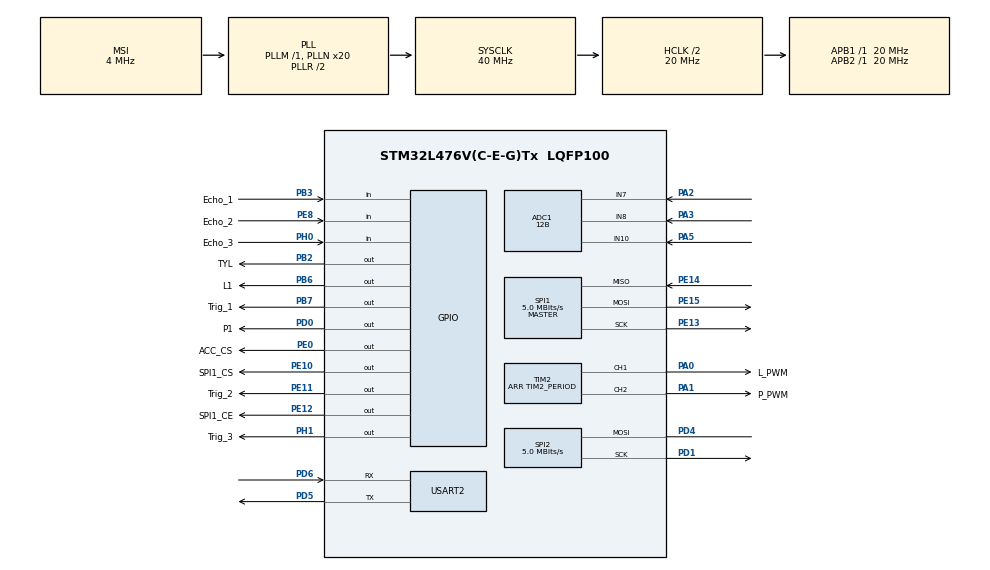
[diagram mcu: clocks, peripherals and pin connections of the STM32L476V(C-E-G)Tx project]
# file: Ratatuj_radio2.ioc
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ADC1.Channel-0\#ChannelRegularConversion=ADC_CHANNEL_8
ADC1.Channel-1\#ChannelRegularConversion=ADC_CHANNEL_10
ADC1.Channel-3\#ChannelRegularConversion=ADC_CHANNEL_7
ADC1.ClockPrescaler=ADC_CLOCK_ASYNC_DIV32
ADC1.ContinuousConvMode=ENABLE
ADC1.DMAContinuousRequests=ENABLE
ADC1.DataAlign=ADC_DATAALIGN_RIGHT
ADC1.DiscontinuousConvMode=DISABLE
ADC1.EOCSelection=ADC_EOC_SINGLE_CONV
ADC1.EnableAnalogWatchDog1=false
ADC1.EnableAnalogWatchDog2=false
ADC1.EnableAnalogWatchDog3=false
ADC1.EnableInjectedConversion=DISABLE
ADC1.EnableRegularConversion=ENABLE
ADC1.ExternalTrigConv=ADC_SOFTWARE_START
ADC1.ExternalTrigConvEdge=ADC_EXTERNALTRIGCONVEDGE_NONE
ADC1.LowPowerAutoWait=DISABLE
ADC1.NbrOfConversion=3
ADC1.NbrOfConversionFlag=1
ADC1.OffsetNumber-0\#ChannelRegularConversion=ADC_OFFSET_NONE
ADC1.OffsetNumber-1\#ChannelRegularConversion=ADC_OFFSET_NONE
ADC1.OffsetNumber-3\#ChannelRegularConversion=ADC_OFFSET_NONE
ADC1.Overrun=ADC_OVR_DATA_PRESERVED
ADC1.OversamplingMode=DISABLE
ADC1.Rank-0\#ChannelRegularConversion=1
ADC1.Rank-1\#ChannelRegularConversion=2
ADC1.Rank-3\#ChannelRegularConversion=3
ADC1.Resolution=ADC_RESOLUTION_12B
ADC1.SamplingTime-0\#ChannelRegularConversion=ADC_SAMPLETIME_2CYCLES_5
ADC1.SamplingTime-1\#ChannelRegularConversion=ADC_SAMPLETIME_2CYCLES_5
ADC1.SamplingTime-3\#ChannelRegularConversion=ADC_SAMPLETIME_2CYCLES_5
ADC1.ScanConvMode=ADC_SCAN_ENABLE
ADC1.master=1
Dma.ADC1.0.Direction=DMA_PERIPH_TO_MEMORY
Dma.ADC1.0.Instance=DMA1_Channel1
Dma.ADC1.0.MemDataAlignment=DMA_MDATAALIGN_HALFWORD
Dma.ADC1.0.MemInc=DMA_MINC_ENABLE
Dma.ADC1.0.Mode=DMA_CIRCULAR
Dma.ADC1.0.PeriphDataAlignment=DMA_PDATAALIGN_HALFWORD
Dma.ADC1.0.PeriphInc=DMA_PINC_DISABLE
Dma.ADC1.0.Priority=DMA_PRIORITY_LOW
Dma.Request0=ADC1
Mcu.Family=STM32L4
Mcu.Name=STM32L476V(C-E-G)Tx
Mcu.Package=LQFP100
Mcu.UserConstants=TIM2_PRESCALER,20000 - 1;TIM2_PERIOD,100-1
NVIC.DMA1_Channel1_IRQn=true\:0\:0\:false\:false\:true\:false
NVIC.PriorityGroup=NVIC_PRIORITYGROUP_4
PA0.GPIO_Label=L_PWM
PA0.Signal=S_TIM2_CH1
PA1.GPIO_Label=P_PWM
PA1.Signal=S_TIM2_CH2
PA2.Signal=ADCx_IN7
PA3.Signal=ADCx_IN8
PA5.Signal=ADCx_IN10
PB2.GPIO_Label=TYL
PB2.GPIO_PuPd=GPIO_NOPULL
PB2.Signal=GPIO_Output
PB3\ (JTDO-TRACESWO).GPIO_Label=Echo_1
PB3\ (JTDO-TRACESWO).Signal=GPIO_Input
PB6.GPIO_Label=L1
PB6.GPIO_PuPd=GPIO_NOPULL
PB6.Signal=GPIO_Output
PB7.GPIO_Label=Trig_1
PB7.Signal=GPIO_Output
PD0.GPIO_Label=P1
PD0.GPIO_PuPd=GPIO_NOPULL
PD0.Signal=GPIO_Output
PD1.Mode=Simplex_Bidirectional_Master
PD1.Signal=SPI2_SCK
PD4.Mode=Simplex_Bidirectional_Master
PD4.Signal=SPI2_MOSI
PD5.Mode=Asynchronous
PD5.Signal=USART2_TX
PD6.Mode=Asynchronous
PD6.Signal=USART2_RX
PE0.GPIO_Label=ACC_CS
PE0.GPIO_PuPd=GPIO_PULLUP
PE0.GPIO_Speed=GPIO_SPEED_FREQ_VERY_HIGH
PE0.PinState=GPIO_PIN_SET
PE0.Signal=GPIO_Output
PE10.GPIO_Label=SPI1_CS
PE10.Signal=GPIO_Output
PE11.GPIO_Label=Trig_2
PE11.Signal=GPIO_Output
PE12.GPIO_Label=SPI1_CE
PE12.Signal=GPIO_Output
PE13.Mode=Full_Duplex_Master
PE13.Signal=SPI1_SCK
PE14.Mode=Full_Duplex_Master
PE14.Signal=SPI1_MISO
PE15.Mode=Full_Duplex_Master
PE15.Signal=SPI1_MOSI
PE8.GPIO_Label=Echo_2
PE8.Signal=GPIO_Input
PH0-OSC_IN\ (PH0).GPIO_Label=Echo_3
PH0-OSC_IN\ (PH0).Signal=GPIO_Input
PH1-OSC_OUT\ (PH1).GPIO_Label=Trig_3
PH1-OSC_OUT\ (PH1).Signal=GPIO_Output
ProjectManager.HeapSize=0x200
ProjectManager.StackSize=0x400
ProjectManager.TargetToolchain=TrueSTUDIO
RCC.ADCFreq_Value=48000000
RCC.AHBCLKDivider=RCC_SYSCLK_DIV2
RCC.AHBFreq_Value=20000000
RCC.APB1Freq_Value=20000000
RCC.APB1TimFreq_Value=20000000
RCC.APB2Freq_Value=20000000
RCC.APB2TimFreq_Value=20000000
RCC.CortexFreq_Value=20000000
RCC.HCLKFreq_Value=20000000
RCC.HSE_VALUE=8000000
RCC.HSI_VALUE=16000000
RCC.LSE_VALUE=32768
RCC.MSI_VALUE=4000000
RCC.PLLN=20
RCC.PLLSAI1N=24
RCC.PREFETCH_ENABLE=1
RCC.SYSCLKFreq_VALUE=40000000
RCC.SYSCLKSource=RCC_SYSCLKSOURCE_PLLCLK
RCC.USBFreq_Value=48000000
RCC.VCOOutputFreq_Value=80000000
SH.ADCx_IN10.0=ADC1_IN10,IN10-Single-Ended
SH.ADCx_IN7.0=ADC1_IN7,IN7-Single-Ended
SH.ADCx_IN8.0=ADC1_IN8,IN8-Single-Ended
SH.S_TIM2_CH1.0=TIM2_CH1,PWM Generation1 CH1
SH.S_TIM2_CH2.0=TIM2_CH2,PWM Generation2 CH2
SPI1.BaudRatePrescaler=SPI_BAUDRATEPRESCALER_4
SPI1.CalculateBaudRate=5.0 MBits/s
SPI1.DataSize=SPI_DATASIZE_8BIT
SPI1.Direction=SPI_DIRECTION_2LINES
SPI1.Mode=SPI_MODE_MASTER
SPI1.VirtualType=VM_MASTER
SPI2.BaudRatePrescaler=SPI_BAUDRATEPRESCALER_4
SPI2.CLKPhase=SPI_PHASE_1EDGE
SPI2.CalculateBaudRate=5.0 MBits/s
SPI2.DataSize=SPI_DATASIZE_8BIT
SPI2.Direction=SPI_DIRECTION_1LINE
SPI2.Mode=SPI_MODE_MASTER
SPI2.VirtualType=VM_MASTER
TIM2.Channel-PWM\ Generation1\ CH1=TIM_CHANNEL_1
TIM2.Channel-PWM\ Generation2\ CH2=TIM_CHANNEL_2
TIM2.Period=TIM2_PERIOD
TIM2.Prescaler=TIM2_PRESCALER
USART2.VirtualMode-Asynchronous=VM_ASYNC
USART2.WordLength=WORDLENGTH_8B
board=32L476GDISCOVERY

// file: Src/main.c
/**
 ******************************************************************************
 * @file           : main.c
 * @brief          : Main program body
 ******************************************************************************
 ** This notice applies to any and all portions of this file
 * that are not between comment pairs USER CODE BEGIN and
 * USER CODE END. Other portions of this file, whether
 * inserted by the user or by software development tools
 * are owned by their respective copyright owners.
 *
 * COPYRIGHT(c) 2018 STMicroelectronics
 *
 * Redistribution and use in source and binary forms, with or without modification,
 * are permitted provided that the following conditions are met:
 *   1. Redistributions of source code must retain the above copyright notice,
 *      this list of conditions and the following disclaimer.
 *   2. Redistributions in binary form must reproduce the above copyright notice,
 *      this list of conditions and the following disclaimer in the documentation
 *      and/or other materials provided with the distribution.
 *   3. Neither the name of STMicroelectronics nor the names of its contributors
 *      may be used to endorse or promote products derived from this software
 *      without specific prior written permission.
 *
 * THIS SOFTWARE IS PROVIDED BY THE COPYRIGHT HOLDERS AND CONTRIBUTORS "AS IS"
 * AND ANY EXPRESS OR IMPLIED WARRANTIES, INCLUDING, BUT NOT LIMITED TO, THE
 * IMPLIED WARRANTIES OF MERCHANTABILITY AND FITNESS FOR A PARTICULAR PURPOSE ARE
 * DISCLAIMED. IN NO EVENT SHALL THE COPYRIGHT HOLDER OR CONTRIBUTORS BE LIABLE
 * FOR ANY DIRECT, INDIRECT, INCIDENTAL, SPECIAL, EXEMPLARY, OR CONSEQUENTIAL
 * DAMAGES (INCLUDING, BUT NOT LIMITED TO, PROCUREMENT OF SUBSTITUTE GOODS OR
 * SERVICES; LOSS OF USE, DATA, OR PROFITS; OR BUSINESS INTERRUPTION) HOWEVER
 * CAUSED AND ON ANY THEORY OF LIABILITY, WHETHER IN CONTRACT, STRICT LIABILITY,
 * OR TORT (INCLUDING NEGLIGENCE OR OTHERWISE) ARISING IN ANY WAY OUT OF THE USE
 * OF THIS SOFTWARE, EVEN IF ADVISED OF THE POSSIBILITY OF SUCH DAMAGE.
 *
 ******************************************************************************
 */
#include "main.h"
#include "stm32l4xx_hal.h"
#include "adc.h"
#include "dma.h"
#include "spi.h"
#include "tim.h"
#include "usart.h"
#include "gpio.h"

/* USER CODE BEGIN Includes */
#include "dwt_stm32_delay.h"
#include "main_module_radio.h"
#include "distance.h"
#include "acc.h"
/* USER CODE END Includes */

/* USER CODE BEGIN PV */
/* Private variables ---------------------------------------------------------*/
uint8_t dataIn[32];
TM_NRF24L01_Transmit_Status_t transmissionStatus;
uint8_t dataOut[32];
uint16_t pomiar[3] = { 3, 3, 3 };
int16_t data[3];

/* USER CODE END PV */

void SystemClock_Config(void);

/* USER CODE BEGIN PFP */
/* Private function prototypes -----------------------------------------------*/
int _write(int file, char *ptr, int len) {
	HAL_UART_Transmit(&huart2, (uint8_t *) ptr, len, 50);
	return len;
}

void do_przodu() {
	HAL_GPIO_WritePin(TYL_GPIO_Port, TYL_Pin, GPIO_PIN_RESET);
	HAL_GPIO_WritePin(L1_GPIO_Port, L1_Pin, GPIO_PIN_SET);
	HAL_GPIO_WritePin(P1_GPIO_Port, P1_Pin, GPIO_PIN_SET);
}

void do_tylu() {
	HAL_GPIO_WritePin(L1_GPIO_Port, L1_Pin, GPIO_PIN_RESET);
	HAL_GPIO_WritePin(P1_GPIO_Port, P1_Pin, GPIO_PIN_RESET);
	HAL_GPIO_WritePin(TYL_GPIO_Port, TYL_Pin, GPIO_PIN_SET);
}

void prawo() {
	HAL_GPIO_WritePin(P1_GPIO_Port, P1_Pin, GPIO_PIN_RESET);
	HAL_GPIO_WritePin(TYL_GPIO_Port, TYL_Pin, GPIO_PIN_RESET);
	HAL_GPIO_WritePin(L1_GPIO_Port, L1_Pin, GPIO_PIN_SET);
}

void lewo() {
	HAL_GPIO_WritePin(L1_GPIO_Port, L1_Pin, GPIO_PIN_RESET);
	HAL_GPIO_WritePin(TYL_GPIO_Port, TYL_Pin, GPIO_PIN_RESET);
	HAL_GPIO_WritePin(P1_GPIO_Port, P1_Pin, GPIO_PIN_SET);
}

/* USER CODE END PFP */

int main(void) {
	/* USER CODE BEGIN 1 */
	uint16_t Left;
	uint16_t Front;
	uint16_t Right;
	/* USER CODE END 1 */

	/* MCU Configuration----------------------------------------------------------*/

	/* Reset of all peripherals, Initializes the Flash interface and the Systick. */
	HAL_Init();

	/* Configure the system clock */
	SystemClock_Config();

	/* Initialize all configured peripherals */
	MX_GPIO_Init();
	MX_DMA_Init();
	MX_SPI1_Init();
	MX_USART2_UART_Init();
	MX_ADC1_Init();
	MX_TIM2_Init();
	MX_SPI2_Init();
	/* USER CODE BEGIN 2 */
	//HAL_GPIO_WritePin(SPI1_CS_GPIO_Port,SPI1_CS_Pin,GPIO_PIN_SET);
	HCSR04_Init();
	HAL_GPIO_WritePin(L1_GPIO_Port, L1_Pin, GPIO_PIN_RESET);
	HAL_GPIO_WritePin(P1_GPIO_Port, P1_Pin, GPIO_PIN_RESET);
	HAL_GPIO_WritePin(TYL_GPIO_Port, TYL_Pin, GPIO_PIN_RESET);

	HCSR04_Init();
	HAL_ADC_Start_DMA(&hadc1, &pomiar[0], 3);
	HAL_Delay(100);
	mainModuleRadioInit();

//PWM

	HAL_TIM_PWM_Start(&htim2, TIM_CHANNEL_1);
	HAL_TIM_PWM_Start(&htim2, TIM_CHANNEL_2);
	htim2.Instance->CCR1 = 50; //LEWE
	htim2.Instance->CCR2 = 50; //PRAWE
	ACC_Init();

	/* USER CODE END 2 */

	/* Infinite loop */
	/* USER CODE BEGIN WHILE */
	if (DWT_Delay_Init()) {
		Error_Handler(); /* Call Error Handler */
	}

	while (1) {/* If data is ready on NRF24L01+ */

		Left = HCSR04READ1();
		Front = HCSR04READ2();
		Right = HCSR04READ3();

		if (Left > 8000) {
			Left = 30;
		}
		if (Right > 8000) {
			Right = 30;
		}
		if (Front > 10000) {
			Front = 50;
		}
		if (Front < 30 ) {
			do_tylu();
			htim2.Instance->CCR1 = 80; //LEWE
			htim2.Instance->CCR2 = 80; //PRAWE
			HAL_Delay(400);
			do_przodu();
			if(Right>=Left){
			htim2.Instance->CCR1 = 90; //LEWE
			htim2.Instance->CCR2 = 0;} //PRAWE
			if(Left>=Right){
			htim2.Instance->CCR1 = 0; //LEWE
			htim2.Instance->CCR2 = 90;} //PRAWE
			HAL_Delay(400);
		}
		if (Left >= Right && Front > 30) {
			if (Left >= 2 * Right) {
				lewo();
				htim2.Instance->CCR1 = 90; //LEWE
				htim2.Instance->CCR2 = 90;
			} else {
				do_przodu();
				htim2.Instance->CCR1 = 60; //LEWE
				htim2.Instance->CCR2 = 90;
			} //PRAWE
		}
		if (Right >= Left && Front > 30) {
			if (Right >= 2 * Left) {
				prawo();
				htim2.Instance->CCR1 = 90; //LEWE
				htim2.Instance->CCR2 = 90;
			} else {
				do_przodu();
				htim2.Instance->CCR1 = 90; //LEWE
				htim2.Instance->CCR2 = 60;
			} //PRAWE
		}

		if (Front < 25 || Right < 25 || Left < 25) {
			do_tylu();
			htim2.Instance->CCR1 = 60; //LEWE
			htim2.Instance->CCR2 = 60;
			HAL_Delay(250);

		}

		if (Front < 10 || Right < 10 || Left < 10){
					htim2.Instance->CCR1 = 0; //LEWE
					htim2.Instance->CCR2 = 0;

				}

		//ACC_ReadValues(data);
		//printf(" %d %d %d \n\r", data[0], data[1], data[2]);
		//printf("CzasL: %u CzasF: %u  CzasR:%u  \r\n", (int) Left, (int) Front,(int) Right);

		sprintf((char *) dataOut, "%d %d %d %d %d %d \r\n", pomiar[0],pomiar[1], pomiar[2],data[0],data[1],data[2]);
		//printf("%s \r\n",dataOut);
		//dataOut[0]=Czas1;
		// printf("CzasL: %u CzasF: %u  CzasR:%u  \r\n",(int)Left,(int)Front,(int)Right);
		/* Transmit data, goes automatically to TX mode */
		TM_NRF24L01_Transmit(dataOut);
		do {
			transmissionStatus = TM_NRF24L01_GetTransmissionStatus();
		} while (transmissionStatus == TM_NRF24L01_Transmit_Status_Sending);

		/* USER CODE END WHILE */

	}

}

void SystemClock_Config(void) {

	RCC_OscInitTypeDef RCC_OscInitStruct;
	RCC_ClkInitTypeDef RCC_ClkInitStruct;
	RCC_PeriphCLKInitTypeDef PeriphClkInit;

	/**Initializes the CPU, AHB and APB busses clocks
	 */
	RCC_OscInitStruct.OscillatorType = RCC_OSCILLATORTYPE_MSI;
	RCC_OscInitStruct.MSIState = RCC_MSI_ON;
	RCC_OscInitStruct.MSICalibrationValue = 0;
	RCC_OscInitStruct.MSIClockRange = RCC_MSIRANGE_6;
	RCC_OscInitStruct.PLL.PLLState = RCC_PLL_ON;
	RCC_OscInitStruct.PLL.PLLSource = RCC_PLLSOURCE_MSI;
	RCC_OscInitStruct.PLL.PLLM = 1;
	RCC_OscInitStruct.PLL.PLLN = 20;
	RCC_OscInitStruct.PLL.PLLP = RCC_PLLP_DIV7;
	RCC_OscInitStruct.PLL.PLLQ = RCC_PLLQ_DIV2;
	RCC_OscInitStruct.PLL.PLLR = RCC_PLLR_DIV2;
	if (HAL_RCC_OscConfig(&RCC_OscInitStruct) != HAL_OK) {
		_Error_Handler(__FILE__, __LINE__);
	}

	/**Initializes the CPU, AHB and APB busses clocks
	 */
	RCC_ClkInitStruct.ClockType = RCC_CLOCKTYPE_HCLK | RCC_CLOCKTYPE_SYSCLK
			| RCC_CLOCKTYPE_PCLK1 | RCC_CLOCKTYPE_PCLK2;
	RCC_ClkInitStruct.SYSCLKSource = RCC_SYSCLKSOURCE_PLLCLK;
	RCC_ClkInitStruct.AHBCLKDivider = RCC_SYSCLK_DIV2;
	RCC_ClkInitStruct.APB1CLKDivider = RCC_HCLK_DIV1;
	RCC_ClkInitStruct.APB2CLKDivider = RCC_HCLK_DIV1;

	if (HAL_RCC_ClockConfig(&RCC_ClkInitStruct, FLASH_LATENCY_1) != HAL_OK) {
		_Error_Handler(__FILE__, __LINE__);
	}

	PeriphClkInit.PeriphClockSelection = RCC_PERIPHCLK_USART2
			| RCC_PERIPHCLK_ADC;
	PeriphClkInit.Usart2ClockSelection = RCC_USART2CLKSOURCE_PCLK1;
	PeriphClkInit.AdcClockSelection = RCC_ADCCLKSOURCE_PLLSAI1;
	PeriphClkInit.PLLSAI1.PLLSAI1Source = RCC_PLLSOURCE_MSI;
	PeriphClkInit.PLLSAI1.PLLSAI1M = 1;
	PeriphClkInit.PLLSAI1.PLLSAI1N = 24;
	PeriphClkInit.PLLSAI1.PLLSAI1P = RCC_PLLP_DIV7;
	PeriphClkInit.PLLSAI1.PLLSAI1Q = RCC_PLLQ_DIV2;
	PeriphClkInit.PLLSAI1.PLLSAI1R = RCC_PLLR_DIV2;
	PeriphClkInit.PLLSAI1.PLLSAI1ClockOut = RCC_PLLSAI1_ADC1CLK;
	if (HAL_RCCEx_PeriphCLKConfig(&PeriphClkInit) != HAL_OK) {
		_Error_Handler(__FILE__, __LINE__);
	}

	/**Configure the main internal regulator output voltage
	 */
	if (HAL_PWREx_ControlVoltageScaling(PWR_REGULATOR_VOLTAGE_SCALE1)
			!= HAL_OK) {
		_Error_Handler(__FILE__, __LINE__);
	}

	/**Configure the Systick interrupt time
	 */
	HAL_SYSTICK_Config(HAL_RCC_GetHCLKFreq() / 1000);

	/**Configure the Systick
	 */
	HAL_SYSTICK_CLKSourceConfig(SYSTICK_CLKSOURCE_HCLK);

	/* SysTick_IRQn interrupt configuration */
	HAL_NVIC_SetPriority(SysTick_IRQn, 0, 0);
}

void _Error_Handler(char *file, int line) {
	while (1) {
	}
}

/************************ (C) COPYRIGHT STMicroelectronics *****END OF FILE****/
